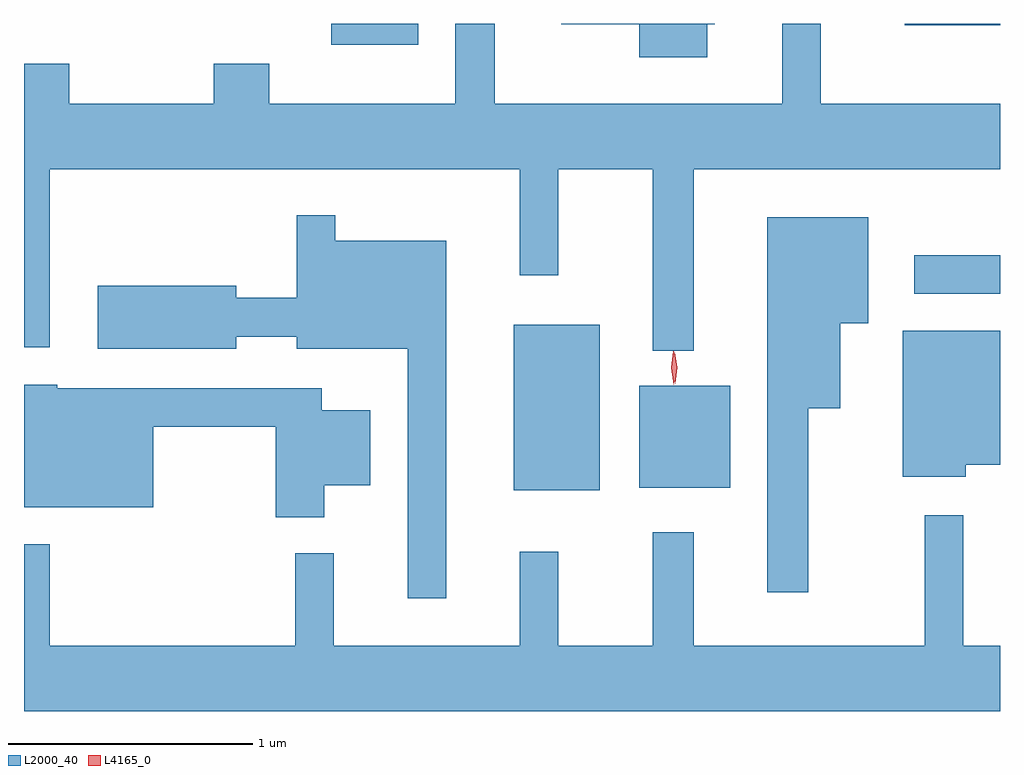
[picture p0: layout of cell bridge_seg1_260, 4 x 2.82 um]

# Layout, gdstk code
import gdstk
lib = gdstk.Library(unit=1e-6, precision=1e-09)
def R(c, l, rs):  # rectangles x0, y0, x1, y1
    for r in rs: c.add(gdstk.rectangle(r[:2], r[2:], *l))
def P(c, l, *ps):  # polygons
    for p in ps: c.add(gdstk.Polygon(p, *l))
L2000_40 = (2000, 40)
L4165_0 = (4165, 0)

bridge_seg1_260 = lib.new_cell('bridge_seg1_260')
R(bridge_seg1_260, L2000_40, [(950.341,873.841,950.694,874.519), (950.856,873.851,951.229,874.269), (951.983,874.646,952.334,874.804), (949.593,875.666,949.949,875.752), (951.943,875.746,952.334,875.752)])
P(bridge_seg1_260, L2000_40, [(951.134,875.751),(951.164,875.751),(951.164,875.752),(950.536,875.752),(950.536,875.751),(950.856,875.751),(950.856,875.616),(951.134,875.616)],
  [(951.441,875.752),(951.441,875.424),(950.264,875.424),(950.264,875.752),(950.101,875.752),(950.101,875.424),(949.339,875.424),(949.339,875.589),(949.111,875.589),(949.111,875.424),(948.519,875.424),(948.519,875.589),(948.334,875.589),(948.334,874.426),(948.439,874.426),(948.439,875.156),(950.366,875.156),(950.366,874.723),(950.524,874.723),(950.524,875.156),(950.911,875.156),(950.911,874.413),(951.079,874.413),(951.079,875.156),(952.334,875.156),(952.334,875.424),(951.599,875.424),(951.599,875.752)],
  [(950.064,874.864),(949.609,874.864),(949.609,874.968),(949.451,874.968),(949.451,874.629),(949.204,874.629),(949.204,874.679),(948.636,874.679),(948.636,874.421),(949.204,874.421),(949.204,874.471),(949.451,874.471),(949.451,874.421),(949.906,874.421),(949.906,873.398),(950.064,873.398)],
  [(951.549,874.176),(951.679,874.176),(951.679,874.526),(951.794,874.526),(951.794,874.959),(951.381,874.959),(951.381,873.423),(951.549,873.423)],
  [(952.194,873.946),(952.334,873.946),(952.334,874.494),(951.936,874.494),(951.936,873.896),(952.194,873.896)],
  [(949.564,873.861),(949.754,873.861),(949.754,874.169),(949.554,874.169),(949.554,874.259),(948.47,874.259),(948.47,874.274),(948.334,874.274),(948.334,873.771),(948.864,873.771),(948.864,874.101),(949.366,874.101),(949.366,873.731),(949.564,873.731)],
  [(952.334,873.204),(952.184,873.204),(952.184,873.738),(952.026,873.738),(952.026,873.204),(951.079,873.204),(951.079,873.668),(950.911,873.668),(950.911,873.204),(950.524,873.204),(950.524,873.588),(950.366,873.588),(950.366,873.204),(949.604,873.204),(949.604,873.583),(949.446,873.583),(949.446,873.204),(948.439,873.204),(948.439,873.619),(948.334,873.619),(948.334,872.936),(952.334,872.936)])
P(bridge_seg1_260, L4165_0, [(950.996,874.273),(950.996,874.274),(950.986,874.342),(950.995,874.41),(950.995,874.41),(950.996,874.41),(951.006,874.342),(950.997,874.274)],
  [(951.003,874.278),(951.003,874.279),(950.992,874.343),(951,874.407),(951.001,874.407),(951.001,874.407),(951.012,874.343),(951.004,874.279)])

lib.write_gds('bridge_seg1_260.gds')
